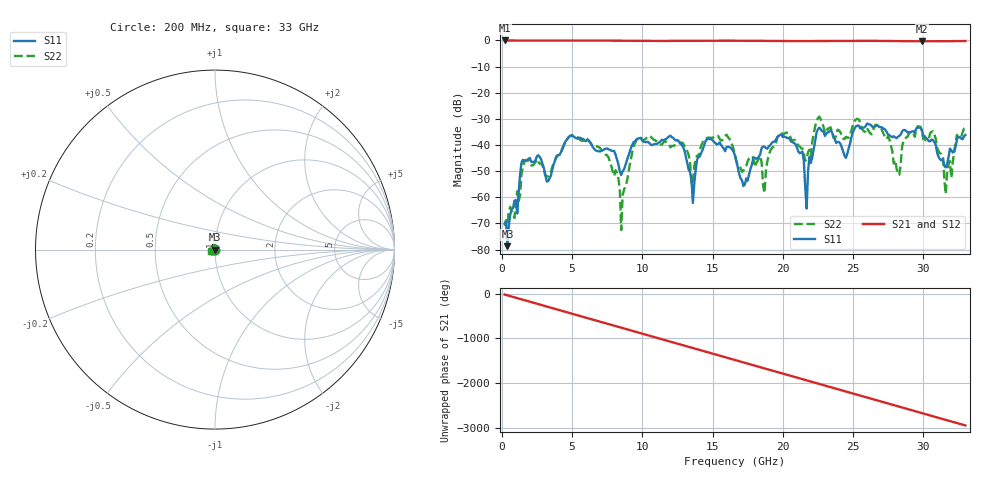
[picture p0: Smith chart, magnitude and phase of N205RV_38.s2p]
# GHZ S RI R 50
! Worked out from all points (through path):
!   329 points, 200 MHz to 33 GHz, reference 50 ohm
!   highest |S21| = -0.02 dB at 200 MHz (marker M1); lowest = -0.3 dB at 29.9 GHz (marker M2)
!   group delay of S21, straight-line fit = 248 ps
!   lowest |S11| = -78.7 dB at 400 MHz (marker M3), VSWR 1.00, Z = 50 + j0.00785 ohm
!   |S11| at or under -10 dB: start of sweep to end of sweep
!   |S22| runs from -72.5 to -29.2 dB; largest |S21 - S12| = 0.0019
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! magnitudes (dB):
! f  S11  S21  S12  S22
! 200 MHz  -70.1  0.0  0.0  -70.9
! 400 MHz  -78.7  0.0  0.0  -70.3
! 1.5 GHz  -45.7  -0.1  -0.1  -48.2
! 5.7 GHz  -37.6  -0.1  -0.1  -38.4
! 8.2 GHz  -45.6  -0.1  -0.1  -50.8
! 8.5 GHz  -51.5  -0.1  -0.1  -72.5
! 9.6 GHz  -37.8  -0.2  -0.2  -37.8
! 11.2 GHz  -39.1  -0.2  -0.2  -39.5
! 12.9 GHz  -40.8  -0.2  -0.2  -39.3
! 13.6 GHz  -62.2  -0.2  -0.2  -54.0
! 14.6 GHz  -37.9  -0.1  -0.1  -37.4
! 16.6 GHz  -44.1  -0.1  -0.1  -44.0
! 18.7 GHz  -40.7  -0.2  -0.2  -58.4
! 20.4 GHz  -37.3  -0.3  -0.3  -35.3
! 21.4 GHz  -42.5  -0.3  -0.3  -41.4
! 21.7 GHz  -64.3  -0.3  -0.3  -45.3
! 22.1 GHz  -44.7  -0.2  -0.2  -38.7
! 27.6 GHz  -36.2  -0.2  -0.2  -38.0
! 28.3 GHz  -36.5  -0.3  -0.3  -51.4
! 29.9 GHz  -34.5  -0.3  -0.3  -34.3
! 31.6 GHz  -48.6  -0.3  -0.3  -58.7
! 33 GHz  -36.2  -0.2  -0.2  -33.2
